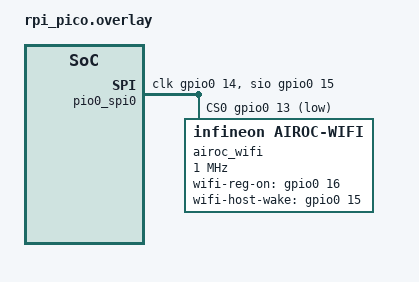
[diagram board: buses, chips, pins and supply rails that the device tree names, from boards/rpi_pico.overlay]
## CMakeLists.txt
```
# SPDX-License-Identifier: Apache-2.0

cmake_minimum_required(VERSION 3.20.0)
find_package(Zephyr REQUIRED HINTS $ENV{ZEPHYR_BASE})
project(wifi_hack)

FILE(GLOB app_sources src/*.c)
target_sources(app PRIVATE ${app_sources})
```

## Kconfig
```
# Copyright (c) 2020, Nordic Semiconductor ASA
# SPDX-License-Identifier: Apache-2.0

config LOG
	default y

config LOG_PRINTK
	default y

config SPI
	default y

source "Kconfig.zephyr"
```

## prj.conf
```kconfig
CONFIG_SPI=y
CONFIG_SPI_RPI_PICO_PIO=y
CONFIG_DEBUG_OPTIMIZATIONS=y
```

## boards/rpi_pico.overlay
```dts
&pinctrl {
	pio0_spi0_default: pio0_spi0_default {
		group1 {
			pinmux = <PIO0_P14>, <PIO0_P15>;
		};
	};
};

&pio0 {
 	status = "okay";

	pio0_spi0: pio0_spi0 {
		pinctrl-0 = <&pio0_spi0_default>;
		pinctrl-names = "default";

		compatible = "raspberrypi,pico-spi-pio";
		status = "okay";
		#address-cells = <1>;
		#size-cells = <0>;
		clocks = <&clocks RPI_PICO_CLKID_CLK_SYS>;
		cs-gpios = <&gpio0 13 GPIO_ACTIVE_LOW>;
		clk-gpios = <&gpio0 14 GPIO_ACTIVE_HIGH>;
		sio-gpios = <&gpio0 15 GPIO_ACTIVE_HIGH>;
		airoc_wifi: airoc-wifi@0 {
			status = "okay";
			reg = < 0 >;
			compatible = "infineon,airoc-wifi";
			wifi-reg-on-gpios = < &gpio0 16 GPIO_ACTIVE_HIGH >;
			wifi-host-wake-gpios = < &gpio0 15 GPIO_ACTIVE_HIGH >;
			spi-max-frequency = < 1000000 >;
			spi-half-duplex;
		};
	};
};
```

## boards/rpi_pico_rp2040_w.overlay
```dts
&pinctrl {
	pio0_spi0_default: pio0_spi0_default {
		group1 {
			pinmux = <PIO0_P24>, <PIO0_P29>;
		};
	};
};

&pio0 {
 	status = "okay";

	pio0_spi0: pio0_spi0 {
		pinctrl-0 = <&pio0_spi0_default>;
		pinctrl-names = "default";

		compatible = "raspberrypi,pico-spi-pio";
		status = "okay";
		#address-cells = <1>;
		#size-cells = <0>;
		clocks = <&clocks RPI_PICO_CLKID_CLK_SYS>;
		cs-gpios = <&gpio0 25 GPIO_ACTIVE_LOW>;
		clk-gpios = <&gpio0 29 GPIO_ACTIVE_HIGH>;
		sio-gpios = <&gpio0 24 GPIO_ACTIVE_HIGH>;
		airoc_wifi: airoc-wifi@0 {
			status = "okay";
			reg = < 0 >;
			compatible = "infineon,airoc-wifi";
			wifi-reg-on-gpios = < &gpio0 23 GPIO_ACTIVE_HIGH >;
			wifi-host-wake-gpios = < &gpio0 24 GPIO_ACTIVE_HIGH >;
			spi-max-frequency = < 1000000 >;
			spi-half-duplex;
		};
	};
};
```

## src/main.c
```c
/*
 * Copyright (c) 2012-2014 Wind River Systems, Inc.
 * Copyright (c) 2021 Nordic Semiconductor ASA
 *
 * SPDX-License-Identifier: Apache-2.0
 */

#include <zephyr/kernel.h>
#include <zephyr/device.h>
#include <zephyr/devicetree.h>
#include <zephyr/drivers/spi.h>
#include <zephyr/rtio/rtio.h>
#include <zephyr/dsp/print_format.h>

#include "wifi-hack.h"

const struct device *const wifi_bus = DEVICE_DT_GET(DT_NODELABEL(pio0_spi0));

#define WIFI_NODE DT_NODELABEL(airoc_wifi)
#define WIFI_ON_GPIO DT_GPIO_LABEL(WIFI_NODE, wifi_reg_on_gpios)
#define WIFI_ON_PIN DT_GPIO_PIN(WIFI_NODE, wifi_reg_on_gpios)
#define DO_PRINT(TEXT) printf("WIFI_NODE=" #TEXT "\n")

static const struct gpio_dt_spec wifi_on = GPIO_DT_SPEC_GET(WIFI_NODE, wifi_reg_on_gpios);

#define AIROC_WIFI_SPI_OPERATION (SPI_WORD_SET(8) | SPI_HALF_DUPLEX | SPI_TRANSFER_MSB)
#define SPI_NODE DT_NODELABEL(airoc_wifi)

static const struct spi_dt_spec bus_spi = SPI_DT_SPEC_GET(SPI_NODE, AIROC_WIFI_SPI_OPERATION, 0);

void dump_regs() {
    uint32_t gpio_out = *((uint32_t *)(0xD0000010U));
    uint32_t gpio_oe = *((uint32_t *)(0xD0000020U));
    uint32_t pin23_status = *((uint32_t *)(0X400140B8u));
    uint32_t pin23_ctrl = *((uint32_t *)(0X400140BCu));
    uint32_t pin24_status = *((uint32_t *)(0X400140C0u));
    uint32_t pin24_ctrl = *((uint32_t *)(0X400140C4u));
    uint32_t pin25_status = *((uint32_t *)(0X400140C8u));
    uint32_t pin25_ctrl = *((uint32_t *)(0X400140CCu));
    uint32_t pin29_status = *((uint32_t *)(0X400140E8u));
    uint32_t pin29_ctrl = *((uint32_t *)(0X400140ECu));

    printf("GPIO OUT=0x%08X, OE=0x%08X\n", gpio_out, gpio_oe);
    printf("Pin 23 status=0x%08X, ctrl=0x%08X\n", pin23_status, pin23_ctrl);
    printf("Pin 24 status=0x%08X, ctrl=0x%08X\n", pin24_status, pin24_ctrl);
    printf("Pin 25 status=0x%08X, ctrl=0x%08X\n", pin25_status, pin25_ctrl);
    printf("Pin 29 status=0x%08X, ctrl=0x%08X\n", pin29_status, pin29_ctrl);
}

int main(void)
{
	const struct spi_pico_pio_config *dev_cfg = bus_spi.bus->config;

    char tx_data[] = { 0xA0, 0x04, 0x40, 0x00 };
    char rx_data[] = { 0x00, 0x00, 0x00, 0x00 };
	const struct spi_buf tx_buf = {
		.buf = tx_data,
		.len = 4
	};
	const struct spi_buf_set tx = {
		.buffers = &tx_buf,
		.count = 1
	};
	struct spi_buf rx_buf = {
		.buf = rx_data,
		.len = 4
	};
	const struct spi_buf_set rx = {
		.buffers = &rx_buf,
		.count = 1
	};
    int ret = 0;

    ret = gpio_pin_configure_dt(&wifi_on, GPIO_OUTPUT_INACTIVE);
    if (ret < 0) {
            return ret;
    }

    printf("checkWiFi() called\n");

    /* Pull data line low before enabling WiFi chip */
    printf("  Set data line low - pin %d\n", dev_cfg->sio_gpio.pin);
    gpio_pin_set_dt(&dev_cfg->sio_gpio, 0);

	DO_PRINT(WIFI_NODE);
	printf("On pin=%d\n", WIFI_ON_PIN);

    printf("Sleep 150 msec\n");
    k_msleep(150);

    printf("Turn on WiFi chip\n");
    gpio_pin_set_dt(&wifi_on, 1);

    for (int count = 0; count < 4; count++) {
        printf("Add a delay of 50 msec\n");
        k_msleep(250);

//        dump_regs();

        printf("Request chip ID\n");
        ret = spi_transceive_dt(&bus_spi, &tx, &rx);

        printf("Chip ID=");
        for (int index = 0; index < 4; index++) {
            printf("0x%02X ", rx_data[index]);
        }
        printf("\n");
    }

    printf("Turn WiFi off\n");
    ret = gpio_pin_set_dt(&wifi_on, 0);

	return ret;
}
```

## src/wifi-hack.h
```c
struct spi_pico_pio_config {
	const struct device *piodev;
	const struct pinctrl_dev_config *pin_cfg;
	struct gpio_dt_spec clk_gpio;
	struct gpio_dt_spec mosi_gpio;
	struct gpio_dt_spec miso_gpio;
	struct gpio_dt_spec sio_gpio;
};
```
